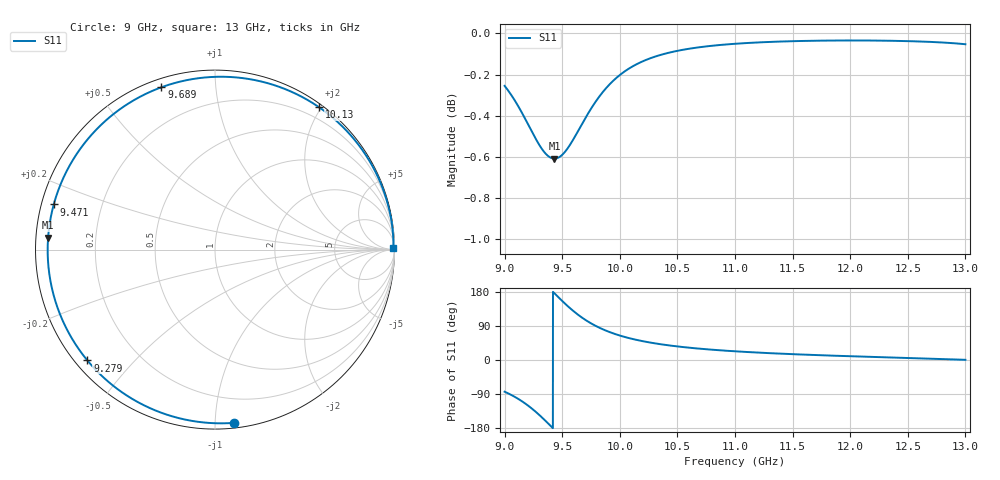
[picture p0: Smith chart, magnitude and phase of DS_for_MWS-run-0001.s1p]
! TOUCHSTONE file generated by CST DESIGN STUDIO
! Date and time: Tue Feb  4 12:45:40 2025
! Project name: C:\Work\MatlabApps\UnitCellOptimizationMatlab\CST\unitcell.cst
! Tree item: Tasks\Sweep1\SPara1\S-Parameters
! Header version: 2024
! Port assignment regex: !\s*Touchstone port\s*([0-9]+)\s*=\s*(CST MWS port|CST DES external port|CST DES block port)\s*(.+)\s* \(\"(.*)\"\)(\s*mode\s*([0-9]+))?.*
! Touchstone port assignment:
! Touchstone port 1 = CST DES external port 1 ("")
# GHz S MA R 50
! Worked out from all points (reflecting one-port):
!   4001 points, 9 GHz to 13 GHz, reference 50 ohm
!   lowest |S11| = -0.6 dB at 9.433 GHz (marker M1), VSWR 28.54, Z = 1.75 + j1.8 ohm
!   phase of S11 starts at -84 deg and turns -276 deg over the sweep
!   S11 on the Smith chart (normalised r, x): 9 GHz: 0.03, -1.12; 9.279 GHz: 0.03, -0.37; 9.471 GHz: 0.04, +0.14; 9.689 GHz: 0.04, +0.72; 10.13 GHz: 0.04, +1.97; 13 GHz: open
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9  0.971 -83.6
9.084  0.9636 -96.5
9.154  0.9561 -109.6
9.218  0.9487 -123.7
9.279  0.9418 -139.0
9.322  0.9375 -150.9
9.361  0.9346 -162.3
9.397  0.9329 -173.2
9.433  0.9323 175.9
9.471  0.933 164.4
9.5  0.9343 155.8
9.548  0.9378 142.1
9.594  0.9421 130.0
9.64  0.947 118.9
9.689  0.9524 108.3
9.759  0.9596 95.2
9.842  0.9669 82.5
9.919  0.9724 72.8
10  0.977 64.5
10.135  0.9825 53.8
10.3  0.987 44.2
10.5  0.9903 35.8
10.723  0.9925 29.1
11  0.9942 23.0
11.5  0.9956 15.4
12  0.996 10.0
12.5  0.9957 5.4
13  0.9939 0.5
